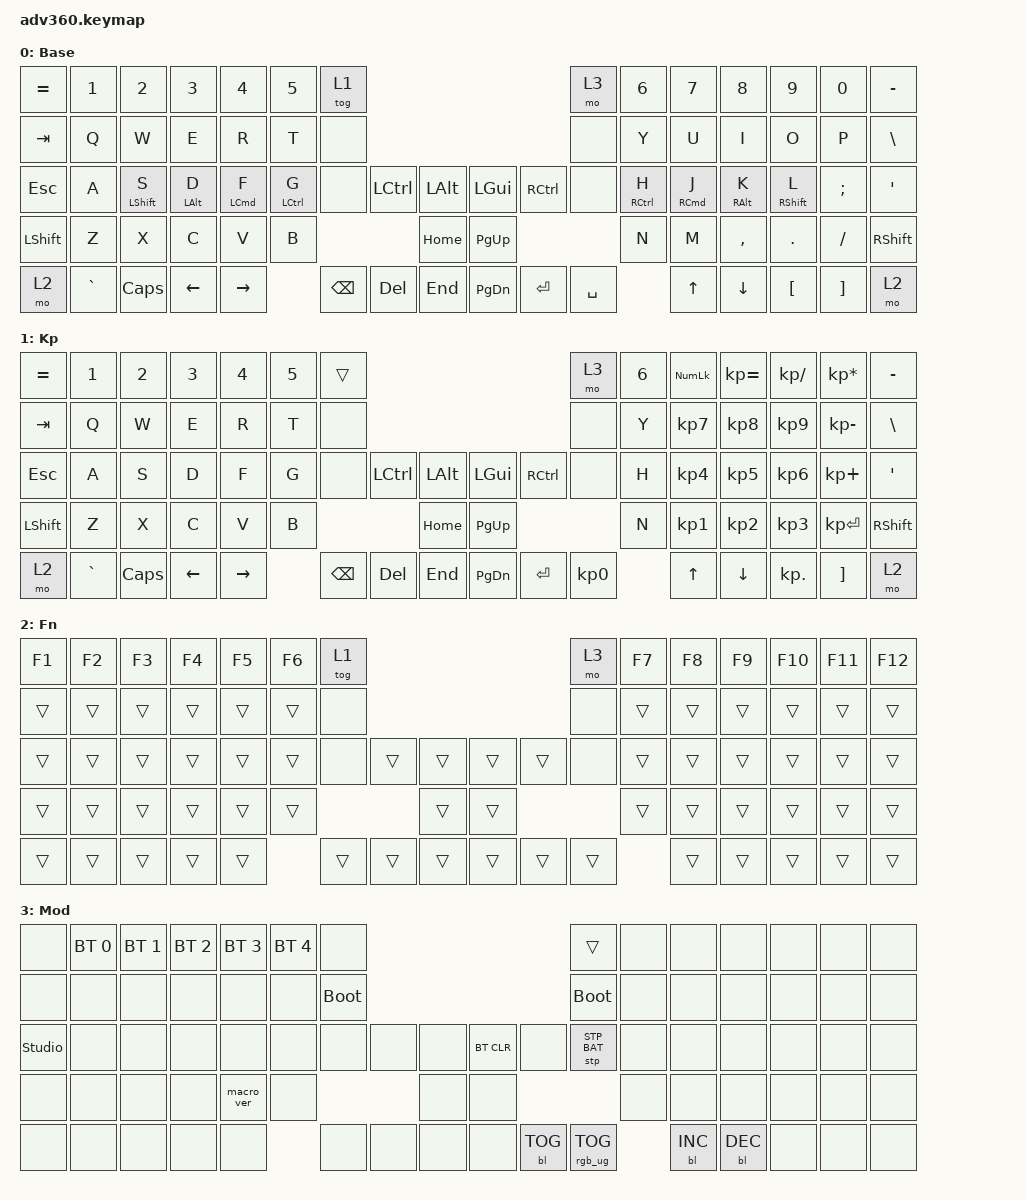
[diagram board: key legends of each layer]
#define ZMK_POINTING_DEFAULT_MOVE_VAL 1500  // Default is 600 (higher = faster cursor)
#define ZMK_POINTING_DEFAULT_SCRL_VAL 20    // Default is 10 (higher = faster scroll)

#include <behaviors.dtsi>
#include <dt-bindings/zmk/keys.h>
#include <dt-bindings/zmk/bt.h>
#include <dt-bindings/zmk/rgb.h>
#include <dt-bindings/zmk/stp.h>
#include <dt-bindings/zmk/backlight.h>
#include <dt-bindings/zmk/pointing.h>

/ {
    behaviors {
        #include "macros.dtsi"
      #include "version.dtsi"

        hm: homerow_mods {
            compatible = "zmk,behavior-hold-tap";
            label = "HOMEROW_MODS";
            #binding-cells = <2>;
            tapping-term-ms = <200>;
            quick_tap_ms = <175>;
            flavor = "tap-preferred";
            bindings = <&kp>, <&kp>;
        };

        hml: hml {
            compatible = "zmk,behavior-hold-tap";
            label = "HML";
            bindings = <&kp>, <&kp>;

            #binding-cells = <2>;
            flavor = "balanced";
            tapping-term-ms = <280>;
            quick-tap-ms = <175>;
            require-prior-idle-ms = <150>;
            hold-trigger-key-positions = <7 75 59 27 13 7 8 9 10 11 12 13 21 22 23 24 25 26 27 38 39 40 41 42 43 44 45 54 55 56 57 58 59 69 70 71 72 73 74 75 37 38 53 69 70 68>;
            hold-trigger-on-release;
        };

        hrl: hrl {
            compatible = "zmk,behavior-hold-tap";
            label = "HRL";
            bindings = <&kp>, <&kp>;

            #binding-cells = <2>;
            tapping-term-ms = <280>;
            quick-tap-ms = <175>;
            require-prior-idle-ms = <150>;
            flavor = "balanced";
            hold-trigger-key-positions = <0 1 2 3 4 5 6 14 15 16 17 18 19 20 28 29 30 31 32 33 34 35 36 46 47 48 49 50 51 52 60 61 62 63 64 65 66 67>;
            hold-trigger-on-release;
        };
    };

    keymap {
        compatible = "zmk,keymap";

        default_layer {
            display-name = "Base";
            bindings = <
&kp EQUAL  &kp N1     &kp N2        &kp N3       &kp N4       &kp N5        &tog 1                                                   &mo 3      &kp N6        &kp N7       &kp N8       &kp N9        &kp N0    &kp MINUS
&kp TAB    &kp Q      &kp W         &kp E        &kp R        &kp T         &none                                                    &none      &kp Y         &kp U        &kp I        &kp O         &kp P     &kp BSLH
&kp ESC    &kp A      &hml LSHFT S  &hml LALT D  &hml LCMD F  &hml LCTRL G  &none     &kp LCTRL  &kp LALT      &kp LGUI   &kp RCTRL  &none      &hrl RCTRL H  &hrl RCMD J  &hrl RALT K  &hrl RSHFT L  &kp SEMI  &kp SQT
&kp LSHFT  &kp Z      &kp X         &kp C        &kp V        &kp B                              &kp HOME      &kp PG_UP                        &kp N         &kp M        &kp COMMA    &kp DOT       &kp FSLH  &kp RSHFT
&mo 2      &kp GRAVE  &kp CAPS      &kp LEFT     &kp RIGHT                  &kp BSPC  &kp DEL    &kp END       &kp PG_DN  &kp ENTER  &kp SPACE                &kp UP       &kp DOWN     &kp LBKT      &kp RBKT  &mo 2
            >;
        };

        keypad {
            display-name = "Kp";
            bindings = <
&kp EQUAL  &kp N1     &kp N2    &kp N3    &kp N4     &kp N5  &trans                                                   &mo 3      &kp N6  &kp KP_NUM  &kp KP_EQUAL  &kp KP_DIVIDE  &kp KP_MULTIPLY  &kp MINUS
&kp TAB    &kp Q      &kp W     &kp E     &kp R      &kp T   &none                                                    &none      &kp Y   &kp KP_N7   &kp KP_N8     &kp KP_N9      &kp KP_MINUS     &kp BSLH
&kp ESC    &kp A      &kp S     &kp D     &kp F      &kp G   &none     &kp LCTRL  &kp LALT      &kp LGUI   &kp RCTRL  &none      &kp H   &kp KP_N4   &kp KP_N5     &kp KP_N6      &kp KP_PLUS      &kp SQT
&kp LSHFT  &kp Z      &kp X     &kp C     &kp V      &kp B                        &kp HOME      &kp PG_UP                        &kp N   &kp KP_N1   &kp KP_N2     &kp KP_N3      &kp KP_ENTER     &kp RSHFT
&mo 2      &kp GRAVE  &kp CAPS  &kp LEFT  &kp RIGHT          &kp BSPC  &kp DEL    &kp END       &kp PG_DN  &kp ENTER  &kp KP_N0          &kp UP      &kp DOWN      &kp KP_DOT     &kp RBKT         &mo 2
            >;
        };

        fn {
            display-name = "Fn";
            bindings = <
&kp F1  &kp F2  &kp F3  &kp F4  &kp F5  &kp F6  &tog 1                                      &mo 3   &kp F7  &kp F8  &kp F9  &kp F10  &kp F11  &kp F12
&trans  &trans  &trans  &trans  &trans  &trans  &none                                       &none   &trans  &trans  &trans  &trans   &trans   &trans
&trans  &trans  &trans  &trans  &trans  &trans  &none   &trans  &trans      &trans  &trans  &none   &trans  &trans  &trans  &trans   &trans   &trans
&trans  &trans  &trans  &trans  &trans  &trans                  &trans      &trans                  &trans  &trans  &trans  &trans   &trans   &trans
&trans  &trans  &trans  &trans  &trans          &trans  &trans  &trans      &trans  &trans  &trans          &trans  &trans  &trans   &trans   &trans
            >;
        };

        mod {
            display-name = "Mod";
            bindings = <
&none           &bt BT_SEL 0  &bt BT_SEL 1  &bt BT_SEL 2  &bt BT_SEL 3  &bt BT_SEL 4  &none                                                  &trans           &none  &none       &none       &none  &none  &none
&none           &none         &none         &none         &none         &none         &bootloader                                            &bootloader      &none  &none       &none       &none  &none  &none
&studio_unlock  &none         &none         &none         &none         &none         &none        &none  &none      &bt BT_CLR  &none       &stp STP_BAT     &none  &none       &none       &none  &none  &none
&none           &none         &none         &none         &macro_ver    &none                             &none      &none                                    &none  &none       &none       &none  &none  &none
&none           &none         &none         &none         &none                       &none        &none  &none      &none       &bl BL_TOG  &rgb_ug RGB_TOG         &bl BL_INC  &bl BL_DEC  &none  &none  &none
            >;
        };

        extra1 {
            display-name = "Red";
            status = "reserved";
        };

        extra2 {
            display-name = "Purple";
            status = "reserved";
        };

        extra3 {
            display-name = "Cyan";
            status = "reserved";
        };

        extra4 {
            display-name = "Yellow";
            status = "reserved";
        };
    };
};
